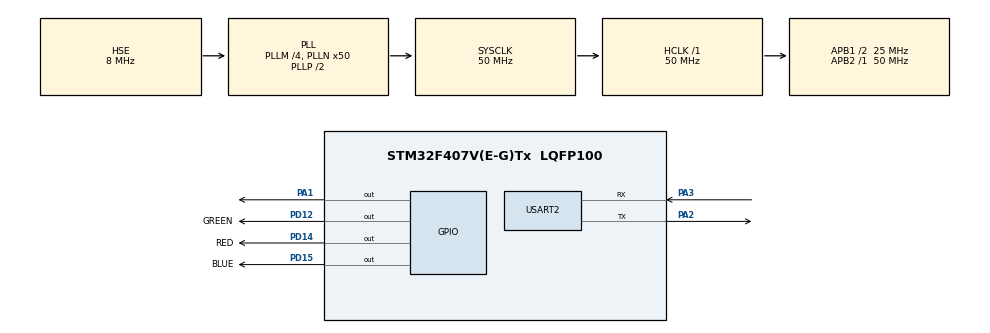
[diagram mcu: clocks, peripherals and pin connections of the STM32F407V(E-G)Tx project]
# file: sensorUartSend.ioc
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Mcu.Family=STM32F4
RCC.PLLSourceVirtual=RCC_PLLSOURCE_HSE
PD12.GPIO_Label=GREEN
PH0-OSC_IN.Signal=RCC_OSC_IN
RCC.CortexFreq_Value=50000000
PD15.GPIO_Label=BLUE
TIM6.Prescaler=50-1
VP_TIM6_VS_ClockSourceINT.Mode=Enable_Timer
RCC.APB1CLKDivider=RCC_HCLK_DIV2
RCC.SYSCLKSource=RCC_SYSCLKSOURCE_PLLCLK
ProjectManager.StackSize=0x400
PA3.Mode=Asynchronous
ProjectManager.TargetToolchain=STM32CubeIDE
RCC.HCLKFreq_Value=50000000
RCC.APB2TimFreq_Value=50000000
RCC.LSE_VALUE=32768
PA1.Signal=GPIO_Output
RCC.AHBFreq_Value=50000000
PH0-OSC_IN.Mode=HSE-External-Oscillator
RCC.HSE_VALUE=8000000
board=custom
RCC.VCOOutputFreq_Value=100000000
RCC.APB2Freq_Value=50000000
PH1-OSC_OUT.Signal=RCC_OSC_OUT
PD14.GPIO_Label=RED
TIM6.Period=0xffff-1
Mcu.Name=STM32F407V(E-G)Tx
PA2.Signal=USART2_TX
PD14.Signal=GPIO_Output
PH1-OSC_OUT.Mode=HSE-External-Oscillator
RCC.48MHZClocksFreq_Value=25000000
RCC.SYSCLKFreq_VALUE=50000000
Mcu.Package=LQFP100
USART2.VirtualMode=VM_ASYNC
PD12.Signal=GPIO_Output
ProjectManager.HeapSize=0x200
RCC.HSI_VALUE=16000000
NVIC.PriorityGroup=NVIC_PRIORITYGROUP_4
RCC.PLLM=4
RCC.PLLN=50
RCC.APB1TimFreq_Value=50000000
PA2.Mode=Asynchronous
RCC.APB1Freq_Value=25000000
PD15.Signal=GPIO_Output
PA3.Signal=USART2_RX

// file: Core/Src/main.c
/* USER CODE BEGIN Header */
/**
  ******************************************************************************
  * @file           : main.c
  * @brief          : Main program body
  ******************************************************************************
  * @attention
  *
  * <h2><center>&copy; Copyright (c) 2022 STMicroelectronics.
  * All rights reserved.</center></h2>
  *
  * This software component is licensed by ST under BSD 3-Clause license,
  * the "License"; You may not use this file except in compliance with the
  * License. You may obtain a copy of the License at:
  *                        opensource.org/licenses/BSD-3-Clause
  *
  ******************************************************************************
  */
/* USER CODE END Header */
#include "main.h"
#include <stdio.h>

TIM_HandleTypeDef htim6;

UART_HandleTypeDef huart2;

/* USER CODE BEGIN PV */
int cont1=0;
int cont2=0;
/* USER CODE END PV */

void SystemClock_Config(void);
static void MX_GPIO_Init(void);
static void MX_TIM6_Init(void);
static void MX_USART2_UART_Init(void);

/* USER CODE BEGIN 0 */
//uint16_t Value_Buf[2];

void delay (uint16_t time)
{
	/* change your code here for the delay in microseconds */
	__HAL_TIM_SET_COUNTER(&htim6, 0);
	while ((__HAL_TIM_GET_COUNTER(&htim6))<time);
}
uint8_t Rh_byte1, Rh_byte2, Temp_byte1, Temp_byte2;
uint16_t SUM, RH, TEMP;

int Temperature = 0;
int Humidity = 0;
uint8_t Presence = 0;

void Set_Pin_Output (GPIO_TypeDef *GPIOx, uint16_t GPIO_Pin)
{
	GPIO_InitTypeDef GPIO_InitStruct = {0};
	GPIO_InitStruct.Pin = GPIO_Pin;
	GPIO_InitStruct.Mode = GPIO_MODE_OUTPUT_PP;
	GPIO_InitStruct.Speed = GPIO_SPEED_FREQ_LOW;
	HAL_GPIO_Init(GPIOx, &GPIO_InitStruct);
}

void Set_Pin_Input (GPIO_TypeDef *GPIOx, uint16_t GPIO_Pin)
{
	GPIO_InitTypeDef GPIO_InitStruct = {0};
	GPIO_InitStruct.Pin = GPIO_Pin;
	GPIO_InitStruct.Mode = GPIO_MODE_INPUT;
	GPIO_InitStruct.Pull = GPIO_PULLUP;
	HAL_GPIO_Init(GPIOx, &GPIO_InitStruct);
}
/*********************************** DHT11 FUNCTIONS ********************************************/

#define DHT11_PORT GPIOA
#define DHT11_PIN GPIO_PIN_1

void DHT11_Start (void)
{
	Set_Pin_Output (DHT11_PORT, DHT11_PIN);  // set the pin as output
	HAL_GPIO_WritePin (DHT11_PORT, DHT11_PIN, 0);   // pull the pin low
	delay (18000);   // wait for 18ms
    HAL_GPIO_WritePin (DHT11_PORT, DHT11_PIN, 1);   // pull the pin high
	delay (20);   // wait for 20us
	Set_Pin_Input(DHT11_PORT, DHT11_PIN);    // set as input
}

uint8_t DHT11_Check_Response (void)
{
	uint8_t Response = 0;
	int contResponse=0;
	delay (40);
	if (!(HAL_GPIO_ReadPin (DHT11_PORT, DHT11_PIN)))
	{
		delay (80);
		if ((HAL_GPIO_ReadPin (DHT11_PORT, DHT11_PIN))) Response = 1;
		else Response = -1; // 255
	}
	contResponse++;
	while ((HAL_GPIO_ReadPin (DHT11_PORT, DHT11_PIN)));   // wait for the pin to go low //travando aq

	return Response;
}

uint8_t DHT11_Read (void)
{
	uint8_t i,j;
	for (j=0;j<8;j++)
	{
		while (!(HAL_GPIO_ReadPin (DHT11_PORT, DHT11_PIN)));   // wait for the pin to go high
		delay (40);   // wait for 40 us
		if (!(HAL_GPIO_ReadPin (DHT11_PORT, DHT11_PIN)))   // if the pin is low
		{
			i&= ~(1<<(7-j));   // write 0
		}
		else i|= (1<<(7-j));  // if the pin is high, write 1
		while ((HAL_GPIO_ReadPin (DHT11_PORT, DHT11_PIN)));  // wait for the pin to go low
	}
	cont2++;
	return i;
}
/* USER CODE END 0 */

int main(void)
{

  /* MCU Configuration--------------------------------------------------------*/

  /* Reset of all peripherals, Initializes the Flash interface and the Systick. */
  HAL_Init();

  /* Configure the system clock */
  SystemClock_Config();

  /* Initialize all configured peripherals */
  MX_GPIO_Init();
  MX_TIM6_Init();
  MX_USART2_UART_Init();
  /* USER CODE BEGIN 2 */
  HAL_TIM_Base_Start(&htim6);
  /* USER CODE END 2 */

  /* Infinite loop */
  while (1)
  {

    /* USER CODE BEGIN 3 */
	  /********************** DHT11 *********************/
	  DHT11_Start();
	  cont1++;
	  Presence = DHT11_Check_Response();
	  Rh_byte1 = DHT11_Read ();
	  Rh_byte2 = DHT11_Read ();
	  Temp_byte1 = DHT11_Read ();
	  Temp_byte2 = DHT11_Read ();
	  SUM = DHT11_Read();

	  TEMP = Temp_byte1;
	  RH = Rh_byte1;

	  Temperature = (int) TEMP;
	  Humidity = (int) RH;
/*
		 uint8_t buffer[10];
		 sprintf(buffer, "Temperatura %d\ Umidade %d\r\n\n", Temperature,Humidity);
	  	 HAL_UART_Transmit(&huart2,buffer,strlen(buffer), HAL_MAX_DELAY);
		  HAL_Delay(3000);*/

	  if (Temperature<25)
	  	  {
		 uint8_t buffer[10];
		 sprintf(buffer, "Temperatura %d\ Umidade %d\r\n\n", Temperature,Humidity);
	  	 HAL_UART_Transmit(&huart2,buffer,strlen(buffer), HAL_MAX_DELAY);
	  	  }
	  else
	  {

		 uint8_t bufferr[10];
		 sprintf(bufferr, "Temperatura %d\n Umidade %d\r\n\n", Temperature,Humidity);
		  	    HAL_UART_Transmit(&huart2,bufferr,strlen(bufferr), HAL_MAX_DELAY);
	  }

 HAL_Delay(3000);

  }
  /* USER CODE END 3 */
}

void SystemClock_Config(void)
{
  RCC_OscInitTypeDef RCC_OscInitStruct = {0};
  RCC_ClkInitTypeDef RCC_ClkInitStruct = {0};

  /** Configure the main internal regulator output voltage
  */
  __HAL_RCC_PWR_CLK_ENABLE();
  __HAL_PWR_VOLTAGESCALING_CONFIG(PWR_REGULATOR_VOLTAGE_SCALE1);
  /** Initializes the RCC Oscillators according to the specified parameters
  * in the RCC_OscInitTypeDef structure.
  */
  RCC_OscInitStruct.OscillatorType = RCC_OSCILLATORTYPE_HSE;
  RCC_OscInitStruct.HSEState = RCC_HSE_ON;
  RCC_OscInitStruct.PLL.PLLState = RCC_PLL_ON;
  RCC_OscInitStruct.PLL.PLLSource = RCC_PLLSOURCE_HSE;
  RCC_OscInitStruct.PLL.PLLM = 4;
  RCC_OscInitStruct.PLL.PLLN = 50;
  RCC_OscInitStruct.PLL.PLLP = RCC_PLLP_DIV2;
  RCC_OscInitStruct.PLL.PLLQ = 4;
  if (HAL_RCC_OscConfig(&RCC_OscInitStruct) != HAL_OK)
  {
    Error_Handler();
  }
  /** Initializes the CPU, AHB and APB buses clocks
  */
  RCC_ClkInitStruct.ClockType = RCC_CLOCKTYPE_HCLK|RCC_CLOCKTYPE_SYSCLK
                              |RCC_CLOCKTYPE_PCLK1|RCC_CLOCKTYPE_PCLK2;
  RCC_ClkInitStruct.SYSCLKSource = RCC_SYSCLKSOURCE_PLLCLK;
  RCC_ClkInitStruct.AHBCLKDivider = RCC_SYSCLK_DIV1;
  RCC_ClkInitStruct.APB1CLKDivider = RCC_HCLK_DIV2;
  RCC_ClkInitStruct.APB2CLKDivider = RCC_HCLK_DIV1;

  if (HAL_RCC_ClockConfig(&RCC_ClkInitStruct, FLASH_LATENCY_1) != HAL_OK)
  {
    Error_Handler();
  }
}

static void MX_TIM6_Init(void)
{

  TIM_MasterConfigTypeDef sMasterConfig = {0};

  htim6.Instance = TIM6;
  htim6.Init.Prescaler = 50-1;
  htim6.Init.CounterMode = TIM_COUNTERMODE_UP;
  htim6.Init.Period = 0xffff-1;
  htim6.Init.AutoReloadPreload = TIM_AUTORELOAD_PRELOAD_DISABLE;
  if (HAL_TIM_Base_Init(&htim6) != HAL_OK)
  {
    Error_Handler();
  }
  sMasterConfig.MasterOutputTrigger = TIM_TRGO_RESET;
  sMasterConfig.MasterSlaveMode = TIM_MASTERSLAVEMODE_DISABLE;
  if (HAL_TIMEx_MasterConfigSynchronization(&htim6, &sMasterConfig) != HAL_OK)
  {
    Error_Handler();
  }

}

static void MX_USART2_UART_Init(void)
{

  huart2.Instance = USART2;
  huart2.Init.BaudRate = 115200;
  huart2.Init.WordLength = UART_WORDLENGTH_8B;
  huart2.Init.StopBits = UART_STOPBITS_1;
  huart2.Init.Parity = UART_PARITY_NONE;
  huart2.Init.Mode = UART_MODE_TX_RX;
  huart2.Init.HwFlowCtl = UART_HWCONTROL_NONE;
  huart2.Init.OverSampling = UART_OVERSAMPLING_16;
  if (HAL_UART_Init(&huart2) != HAL_OK)
  {
    Error_Handler();
  }

}

static void MX_GPIO_Init(void)
{
  GPIO_InitTypeDef GPIO_InitStruct = {0};

  /* GPIO Ports Clock Enable */
  __HAL_RCC_GPIOH_CLK_ENABLE();
  __HAL_RCC_GPIOA_CLK_ENABLE();
  __HAL_RCC_GPIOD_CLK_ENABLE();

  /*Configure GPIO pin Output Level */
  HAL_GPIO_WritePin(GPIOA, GPIO_PIN_1, GPIO_PIN_RESET);

  /*Configure GPIO pin Output Level */
  HAL_GPIO_WritePin(GPIOD, GREEN_Pin|RED_Pin|BLUE_Pin, GPIO_PIN_RESET);

  /*Configure GPIO pin : PA1 */
  GPIO_InitStruct.Pin = GPIO_PIN_1;
  GPIO_InitStruct.Mode = GPIO_MODE_OUTPUT_PP;
  GPIO_InitStruct.Pull = GPIO_NOPULL;
  GPIO_InitStruct.Speed = GPIO_SPEED_FREQ_LOW;
  HAL_GPIO_Init(GPIOA, &GPIO_InitStruct);

  /*Configure GPIO pins : GREEN_Pin RED_Pin BLUE_Pin */
  GPIO_InitStruct.Pin = GREEN_Pin|RED_Pin|BLUE_Pin;
  GPIO_InitStruct.Mode = GPIO_MODE_OUTPUT_PP;
  GPIO_InitStruct.Pull = GPIO_NOPULL;
  GPIO_InitStruct.Speed = GPIO_SPEED_FREQ_LOW;
  HAL_GPIO_Init(GPIOD, &GPIO_InitStruct);

}

void Error_Handler(void)
{
  __disable_irq();
  while (1)
  {
  }
}

/************************ (C) COPYRIGHT STMicroelectronics *****END OF FILE****/
